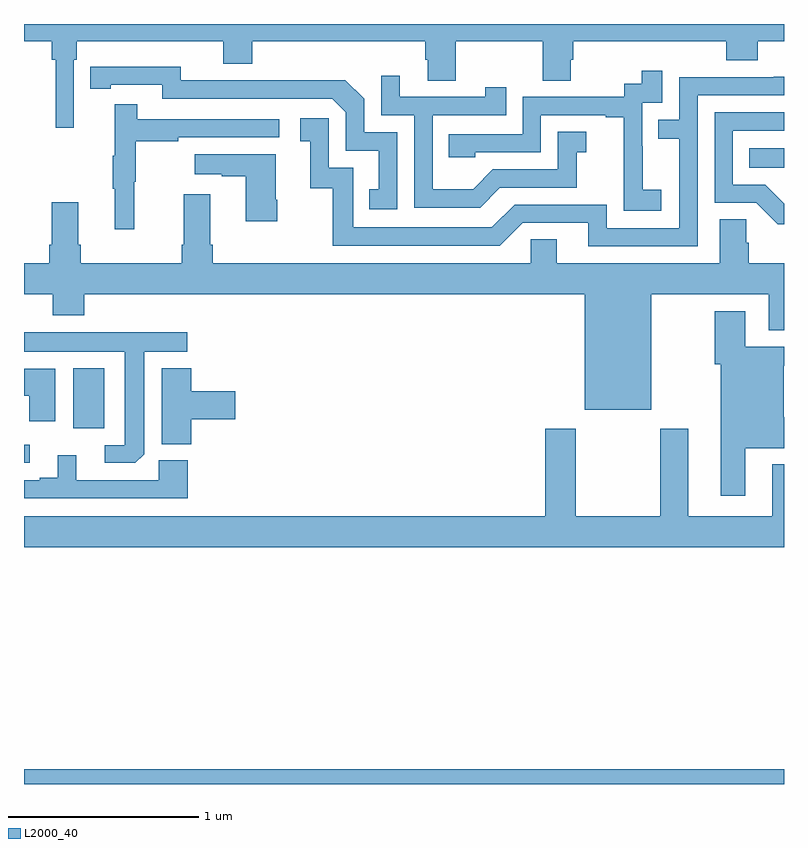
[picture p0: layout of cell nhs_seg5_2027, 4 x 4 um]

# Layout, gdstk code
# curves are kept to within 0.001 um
import gdstk
lib = gdstk.Library(unit=1e-6, precision=1e-09)
def R(c, l, rs):  # rectangles x0, y0, x1, y1
    for r in rs: c.add(gdstk.rectangle(r[:2], r[2:], *l))
def P(c, l, *ps):  # polygons
    for p in ps: c.add(gdstk.Polygon(p, *l))
L2000_40 = (2000, 40)

nhs_seg5_2027 = lib.new_cell('nhs_seg5_2027')
R(nhs_seg5_2027, L2000_40, [(229,904.799,233,904.876), (229,906.489,229.03,906.585), (229.259,906.672,229.423,906.988), (232.816,908.042,233,908.146)])
P(nhs_seg5_2027, L2000_40, [(230.048,908.591),(230.201,908.591),(230.201,908.708),(231.113,908.708),(231.113,908.61),(231.125,908.61),(231.125,908.5),(231.273,908.5),(231.273,908.708),(231.73,908.708),(231.73,908.5),(231.877,908.5),(231.877,908.61),(231.89,908.61),(231.89,908.708),(232.697,908.708),(232.697,908.609),(232.862,908.609),(232.862,908.708),(233,908.708),(233,908.799),(229,908.799),(229,908.708),(229.147,908.708),(229.147,908.612),(229.166,908.612),(229.166,908.253),(229.263,908.253),(229.263,908.612),(229.277,908.612),(229.277,908.708),(230.048,908.708)],
  [(230.964,908.229),(230.79,908.229),(230.79,908.406),(230.692,908.504),(230.284,908.504),(230.284,908.502),(229.824,908.502),(229.824,908.575),(229.348,908.574),(229.348,908.458),(229.456,908.458),(229.456,908.478),(229.728,908.478),(229.728,908.406),(230.622,908.406),(230.694,908.334),(230.694,908.133),(230.867,908.133),(230.867,907.929),(230.818,907.929),(230.818,907.824),(230.964,907.824)],
  [(232.354,907.927),(232.256,907.927),(232.256,908.156),(232.254,908.156),(232.254,908.385),(232.359,908.385),(232.359,908.554),(232.251,908.554),(232.251,908.484),(232.158,908.484),(232.158,908.415),(231.624,908.415),(231.624,908.22),(231.235,908.22),(231.235,908.097),(231.375,908.097),(231.375,908.124),(231.72,908.124),(231.72,908.319),(232.061,908.319),(232.061,908.307),(232.157,908.307),(232.157,908.023),(232.156,908.023),(232.156,907.817),(232.354,907.817)],
  [(231.505,907.938),(231.909,907.938),(231.909,908.123),(231.958,908.123),(231.958,908.233),(231.81,908.233),(231.81,908.034),(231.468,908.034),(231.364,907.93),(231.15,907.93),(231.15,908.319),(231.539,908.319),(231.539,908.467),(231.428,908.467),(231.428,908.415),(230.977,908.415),(230.977,908.527),(230.88,908.527),(230.88,908.319),(231.054,908.319),(231.054,907.833),(231.4,907.833)],
  [(232.545,908.424),(233,908.424),(233,908.522),(232.945,908.522),(232.945,908.52),(232.449,908.52),(232.449,908.295),(232.339,908.295),(232.339,908.194),(232.449,908.194),(232.449,907.725),(232.068,907.725),(232.068,907.848),(231.582,907.848),(231.462,907.728),(230.733,907.728),(230.733,908.043),(230.604,908.043),(230.604,908.302),(230.454,908.302),(230.454,908.181),(230.507,908.181),(230.507,907.935),(230.625,907.935),(230.625,907.632),(231.504,907.632),(231.624,907.752),(231.971,907.752),(231.971,907.629),(232.545,907.629)],
  [(229.58,907.968),(229.588,907.968),(229.588,908.182),(229.811,908.182),(229.811,908.202),(230.344,908.202),(230.344,908.298),(229.595,908.298),(229.595,908.377),(229.478,908.377),(229.478,908.105),(229.467,908.105),(229.467,907.931),(229.478,907.931),(229.478,907.719),(229.58,907.719)],
  [(233,907.853),(232.9,907.953),(232.731,907.953),(232.731,908.238),(233,908.238),(233,908.334),(232.635,908.334),(232.635,907.857),(232.854,907.857),(232.967,907.745),(233,907.745)],
  [(230.334,907.873),(230.326,907.873),(230.326,908.113),(229.899,908.113),(229.899,908.009),(230.042,908.009),(230.042,907.999),(230.168,907.999),(230.168,907.761),(230.334,907.761)],
  [(229.145,907.861),(229.145,907.636),(229.133,907.636),(229.133,907.54),(229,907.54),(229,907.376),(229.151,907.376),(229.151,907.265),(229.316,907.265),(229.316,907.376),(231.95,907.376),(231.95,906.77),(232.3,906.77),(232.3,907.376),(232.919,907.376),(232.919,907.186),(233,907.186),(233,907.54),(232.814,907.54),(232.814,907.649),(232.8,907.649),(232.8,907.772),(232.661,907.772),(232.661,907.54),(231.805,907.54),(231.805,907.667),(231.666,907.667),(231.666,907.54),(229.994,907.54),(229.994,907.636),(229.981,907.636),(229.981,907.903),(229.841,907.903),(229.841,907.636),(229.829,907.636),(229.829,907.54),(229.298,907.54),(229.298,907.636),(229.285,907.636),(229.285,907.861)],
  [(232.795,906.566),(233,906.566),(233,906.73),(232.999,906.73),(232.999,907),(233,907),(233,907.101),(232.795,907.101),(232.795,907.288),(232.636,907.288),(232.636,907.008),(232.667,907.008),(232.667,906.315),(232.795,906.315)],
  [(229.632,906.535),(229.633,907.073),(229.858,907.073),(229.858,907.177),(229,907.177),(229,907.073),(229.529,907.073),(229.529,906.582),(229.425,906.582),(229.425,906.489),(229.586,906.489)],
  [(229.88,906.719),(230.113,906.719),(230.113,906.866),(229.88,906.866),(229.88,906.988),(229.724,906.988),(229.724,906.587),(229.88,906.587)],
  [(229.165,906.985),(229,906.985),(229,906.842),(229.028,906.842),(229.028,906.708),(229.165,906.708)],
  [(233,906.481),(232.937,906.481),(232.937,906.208),(232.495,906.208),(232.495,906.67),(232.348,906.67),(232.348,906.208),(231.903,906.208),(231.903,906.67),(231.743,906.67),(231.743,906.208),(229,906.208),(229,906.044),(233,906.044)],
  [(229.862,906.502),(229.71,906.502),(229.71,906.399),(229.276,906.399),(229.276,906.529),(229.178,906.529),(229.178,906.412),(229.082,906.412),(229.082,906.399),(229,906.399),(229,906.303),(229.862,906.303)])

lib.write_gds('nhs_seg5_2027.gds')
